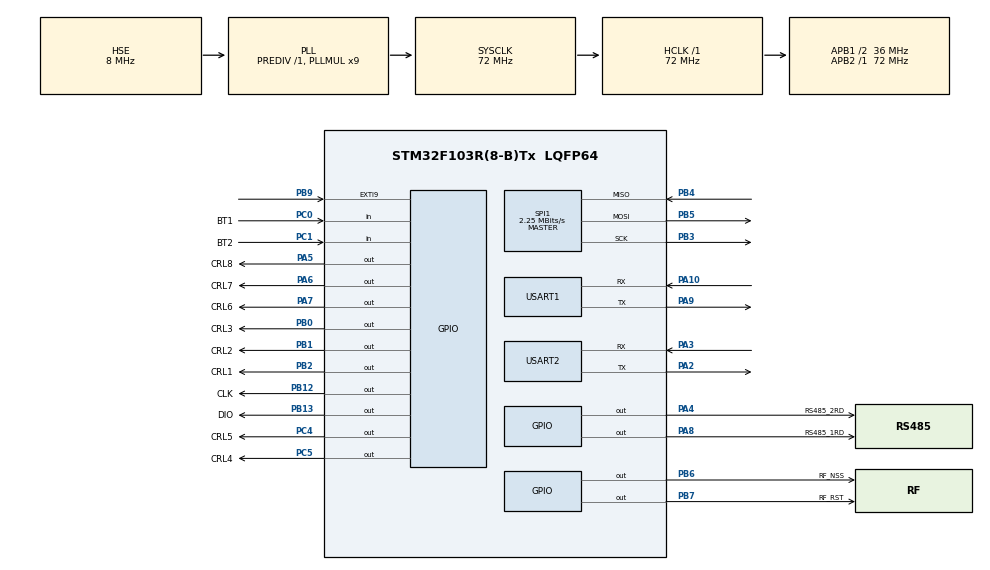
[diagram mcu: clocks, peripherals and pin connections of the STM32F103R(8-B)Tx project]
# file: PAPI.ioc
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Mcu.Family=STM32F1
Mcu.Name=STM32F103R(8-B)Tx
Mcu.Package=LQFP64
NVIC.PriorityGroup=NVIC_PRIORITYGROUP_4
NVIC.TIM1_BRK_IRQn=true\:0\:0\:false\:false\:true\:true
NVIC.TIM1_CC_IRQn=true\:0\:0\:false\:false\:true\:true
NVIC.TIM1_TRG_COM_IRQn=true\:0\:0\:false\:false\:true\:true
NVIC.TIM1_UP_IRQn=true\:0\:0\:false\:false\:true\:true
NVIC.TIM3_IRQn=true\:0\:0\:false\:false\:true\:true
NVIC.USART1_IRQn=true\:0\:0\:false\:true\:true\:2\:true
NVIC.USART2_IRQn=true\:0\:0\:false\:true\:true\:1\:true
PA10.Mode=Asynchronous
PA10.Signal=USART1_RX
PA13.Mode=Serial_Wire
PA13.Signal=SYS_JTMS-SWDIO
PA14.Mode=Serial_Wire
PA14.Signal=SYS_JTCK-SWCLK
PA2.Mode=Asynchronous
PA2.Signal=USART2_TX
PA3.Mode=Asynchronous
PA3.Signal=USART2_RX
PA4.GPIO_Label=RS485_2RD
PA4.Signal=GPIO_Output
PA5.GPIO_Label=CRL8
PA5.Signal=GPIO_Output
PA6.GPIO_Label=CRL7
PA6.Signal=GPIO_Output
PA7.GPIO_Label=CRL6
PA7.Signal=GPIO_Output
PA8.GPIO_Label=RS485_1RD
PA8.Signal=GPIO_Output
PA9.Mode=Asynchronous
PA9.Signal=USART1_TX
PB0.GPIO_Label=CRL3
PB0.Signal=GPIO_Output
PB1.GPIO_Label=CRL2
PB1.Signal=GPIO_Output
PB12.GPIO_Label=CLK
PB12.GPIO_ModeDefaultOutputPP=GPIO_MODE_OUTPUT_OD
PB12.PinState=GPIO_PIN_RESET
PB12.Signal=GPIO_Output
PB13.GPIO_Label=DIO
PB13.GPIO_ModeDefaultOutputPP=GPIO_MODE_OUTPUT_OD
PB13.Signal=GPIO_Output
PB2.GPIO_Label=CRL1
PB2.Signal=GPIO_Output
PB3.Mode=Full_Duplex_Master
PB3.Signal=SPI1_SCK
PB4.Mode=Full_Duplex_Master
PB4.Signal=SPI1_MISO
PB5.Mode=Full_Duplex_Master
PB5.Signal=SPI1_MOSI
PB6.GPIO_Label=RF_NSS
PB6.Signal=GPIO_Output
PB7.GPIO_Label=RF_RST
PB7.Signal=GPIO_Output
PB9.Signal=GPXTI9
PC0.GPIO_Label=BT1
PC0.Signal=GPIO_Input
PC1.GPIO_Label=BT2
PC1.Signal=GPIO_Input
PC4.GPIO_Label=CRL5
PC4.Signal=GPIO_Output
PC5.GPIO_Label=CRL4
PC5.Signal=GPIO_Output
PD0-OSC_IN.Mode=HSE-External-Oscillator
PD0-OSC_IN.Signal=RCC_OSC_IN
PD1-OSC_OUT.Mode=HSE-External-Oscillator
PD1-OSC_OUT.Signal=RCC_OSC_OUT
ProjectManager.HeapSize=0x200
ProjectManager.StackSize=0x400
ProjectManager.TargetToolchain=MDK-ARM V5
RCC.AHBFreq_Value=72000000
RCC.APB1CLKDivider=RCC_HCLK_DIV2
RCC.APB1Freq_Value=36000000
RCC.APB1TimFreq_Value=72000000
RCC.APB2Freq_Value=72000000
RCC.APB2TimFreq_Value=72000000
RCC.HCLKFreq_Value=72000000
RCC.PLLMUL=RCC_PLL_MUL9
RCC.PLLSourceVirtual=RCC_PLLSOURCE_HSE
RCC.SYSCLKFreq_VALUE=72000000
RCC.SYSCLKSource=RCC_SYSCLKSOURCE_PLLCLK
RCC.USBFreq_Value=72000000
SPI1.BaudRatePrescaler=SPI_BAUDRATEPRESCALER_32
SPI1.CalculateBaudRate=2.25 MBits/s
SPI1.Direction=SPI_DIRECTION_2LINES
SPI1.Mode=SPI_MODE_MASTER
SPI1.VirtualType=VM_MASTER
TIM1.AutoReloadPreload=TIM_AUTORELOAD_PRELOAD_ENABLE
TIM1.ClockDivision=TIM_CLOCKDIVISION_DIV1
TIM1.Period=63999
TIM1.Prescaler=1124
TIM1.TIM_MasterOutputTrigger=TIM_TRGO_ENABLE
TIM3.Period=1
TIM3.Prescaler=35999
USART1.VirtualMode=VM_ASYNC
USART2.VirtualMode=VM_ASYNC
VP_TIM1_VS_ClockSourceINT.Mode=Internal
VP_TIM3_VS_ClockSourceINT.Mode=Internal
board=PAPI

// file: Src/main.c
/**
  ******************************************************************************
  * File Name          : main.c
  * Description        : Main program body
  ******************************************************************************
  ** This notice applies to any and all portions of this file
  * that are not between comment pairs USER CODE BEGIN and
  * USER CODE END. Other portions of this file, whether
  * inserted by the user or by software development tools
  * are owned by their respective copyright owners.
  *
  * COPYRIGHT(c) 2018 STMicroelectronics
  *
  * Redistribution and use in source and binary forms, with or without modification,
  * are permitted provided that the following conditions are met:
  *   1. Redistributions of source code must retain the above copyright notice,
  *      this list of conditions and the following disclaimer.
  *   2. Redistributions in binary form must reproduce the above copyright notice,
  *      this list of conditions and the following disclaimer in the documentation
  *      and/or other materials provided with the distribution.
  *   3. Neither the name of STMicroelectronics nor the names of its contributors
  *      may be used to endorse or promote products derived from this software
  *      without specific prior written permission.
  *
  * THIS SOFTWARE IS PROVIDED BY THE COPYRIGHT HOLDERS AND CONTRIBUTORS "AS IS"
  * AND ANY EXPRESS OR IMPLIED WARRANTIES, INCLUDING, BUT NOT LIMITED TO, THE
  * IMPLIED WARRANTIES OF MERCHANTABILITY AND FITNESS FOR A PARTICULAR PURPOSE ARE
  * DISCLAIMED. IN NO EVENT SHALL THE COPYRIGHT HOLDER OR CONTRIBUTORS BE LIABLE
  * FOR ANY DIRECT, INDIRECT, INCIDENTAL, SPECIAL, EXEMPLARY, OR CONSEQUENTIAL
  * DAMAGES (INCLUDING, BUT NOT LIMITED TO, PROCUREMENT OF SUBSTITUTE GOODS OR
  * SERVICES; LOSS OF USE, DATA, OR PROFITS; OR BUSINESS INTERRUPTION) HOWEVER
  * CAUSED AND ON ANY THEORY OF LIABILITY, WHETHER IN CONTRACT, STRICT LIABILITY,
  * OR TORT (INCLUDING NEGLIGENCE OR OTHERWISE) ARISING IN ANY WAY OUT OF THE USE
  * OF THIS SOFTWARE, EVEN IF ADVISED OF THE POSSIBILITY OF SUCH DAMAGE.
  *
  ******************************************************************************
  */

#include "main.h"
#include "stm32f1xx_hal.h"

/* USER CODE BEGIN Includes */
#include "tm1637.h"
/* USER CODE END Includes */

SPI_HandleTypeDef hspi1;

TIM_HandleTypeDef htim1;
TIM_HandleTypeDef htim3;

UART_HandleTypeDef huart1;
UART_HandleTypeDef huart2;

/* USER CODE BEGIN PV */
/* Private variables ---------------------------------------------------------*/

/*****************************************************************************************************************/
unsigned char message[10]="ENJOYNG!!";              // outgoing message
//unsigned char outgoing_length = 20;
unsigned char msgCount = 0;            // count of outgoing messages
unsigned char localAddress = 0x71;     // address of this device
unsigned char destination = 0xFF;      // destination to send to
//long lastSendTime = 0;        // last send time
//int interval = 2000;          // interval between sends
unsigned char _packetIndex;
#pragma used+
unsigned char read_reg_single(unsigned char addr);
void write_reg_single(unsigned char addr,unsigned char data);
void read_all_mem(unsigned char *mem_buff);
#pragma used-
unsigned char rfm98w_begin(unsigned int frequency);
void rf_sleep(void);
void setFrequency(unsigned int frequency);
unsigned int _frequency;
void setTxPower(unsigned char level);
void idle();
//void sendMessage(char *outgoing);
int LoRa_beginPacket(void);
//void explicitHeaderMode();
//unsigned char _implicitHeaderMode;
//unsigned char LoRa_write( unsigned char *buffer,unsigned char size);
unsigned char LoRa_endPacket();

void sendmess(unsigned char *buff);
void LoRa_AddDataToSend(unsigned char des,unsigned char add,unsigned char count, unsigned char *buffer);
unsigned char LoRa_parsePacket(void);
void onReceive_(unsigned char packetSize);
unsigned char LoRa_available(void);
unsigned char LoRa_read(void);
/*****************************************************************************************************************/
//using 1 triger for some loops
#define LOOPSAME 200// 200 mean 200ms
uint16_t _loop_same = LOOPSAME;
uint32_t wait_for_cali_;
uint8_t _stt_lamp_ = 0;//LAMP_OK

const uint8_t _papi_id = PAPI_MASTER;
//const uint8_t _papi_id = PAPI_SLAVE1;

const uint8_t digitToSegment[10] = {
 // XGFEDCBA
  0x3f,//0b00111111,    // 0
  0x06,//0b00000110,    // 1
  0x5b,//0b01011011,    // 2
  0x4f,//0b01001111,    // 3
  0x66,//0b01100110,    // 4
  0x6d,//0b01101101,    // 5
  0x7d,//0b01111101,    // 6
  0x07,//0b00000111,    // 7
  0x7f,//0b01111111,    // 8
  0x6f,//0b01101111,    // 9
  };

struct _s_sensor_ {
	int rawx;
	int rawy;
	int offset_x;
	int offset_y;
	int diff_x;
	int diff_y;
	int abs_diff_x;
	int abs_diff_y;
	uint16_t raw_lux;
	uint16_t ds18b20_temp;
};
struct _s_sensor_ ss1;

void _send_papi_info_(void){
	RS485_TX1;
	printf(">P%02X%02X<",_papi_id,_stt_lamp_);
}

uint8_t UART2_DATA[RX2SIZE];

// Cac trang thai cua cam bien
#define SEN_OK 0//Cam bien binh thuong, OK
#define SEN_WO 1//Cam bien dang bi lech goc WRONG
#define SEN_DI 2//Cam bien chet DIE
#define SEN_FI 3//Cam bien den chet FIRE
#define SEN_HO 4//Cam bien qua nhiet HOT
//for _loop4_check_sensor_
//Lost sensor : Uart error, sensor error
//if in 20 seconds has no right sensor massage => ERROR
#define LOOOP4RUN 20//20 for 20s
uint8_t _loop4 = LOOOP4RUN;
uint8_t _stt_sensor_ = SEN_OK;

// gia lap gia tri cam bien
#define EMU_ON  1
#define EMU_OFF 0
uint8_t _emu_mode_ = EMU_OFF;
uint8_t _emu_value_ = SEN_OK;

void _loop4_check_sensor_(void)
{
	if(_loop4 == ONTIME){// sau 1 phut ko nhan duoc du lieu tu cam bien
		_loop4 = STOP;
		_stt_sensor_ = SEN_DI;
		//RS485_TX1;
		//printf("SENSOR DIED!!\r\n");
	}
	else if((_loop_same == ONTIME) &&(_loop4 != STOP)){//Khoang 200ms (loop same) vao day 1 lan
		//Check sensor dinh ky
		//_loop4 != STOP =>>> Phai nhan duoc ban tin tu cam bien thi moi xu ly
		//kiem tra xem du lieu cam bien dung hay sai <-----check co kiem tra anh sang
		//KIEM TRA ANH SANG O DAY
		//RS485_TX1;
		//if(ss1.diff_x>0x7FFF) ss1.diff_x = 0;
		//if(ss1.diff_y>0x7FFF) ss1.diff_y = 0;//ss1.diff_y-0x10000;
		//if(ss1.diff_x>0x7FFF)
		//ss1.diff_x = (signed int)0xffff;
		//printf("X,Y,t,l :%d,%d,%d\r\n",ss1.diff_x,ss1.rawy,ss1.ds18b20_temp);

		//ss1.diff_x = ss1.rawx - ss1.offset_x;
		//ss1.diff_y = ss1.rawy - ss1.offset_y;

		ss1.diff_x = ss1.rawx;
		ss1.diff_y = ss1.rawy;

		if(ss1.diff_x > 0) ss1.abs_diff_x = ss1.diff_x;
		else ss1.abs_diff_x = -ss1.diff_x;

		if(ss1.diff_y > 0) ss1.abs_diff_y = ss1.diff_y;
		else ss1.abs_diff_y = -ss1.diff_y;
		//Doi sang do
		ss1.abs_diff_x = 7*ss1.abs_diff_x;
		ss1.abs_diff_y = 7*ss1.abs_diff_y;
		/*if((ss1.offset_x - ss1.rawx) > 7 )      _stt_sensor_ = SEN_WO;// goc x nho hon -0.25 do
		else if((ss1.rawx - ss1.offset_x) > 14) _stt_sensor_ = SEN_WO;  //goc x lon hon 0.5 do
		else if((ss1.offset_y - ss1.rawy) > 7)  _stt_sensor_ = SEN_WO; //goc y nho hon -0.25 do
		else if((ss1.rawy - ss1.offset_y) > 14) _stt_sensor_ = SEN_WO; //goc y lon hon 0.5 do
		else _stt_sensor_ = SEN_OK;*/
		//if(((ss1.offset_x - ss1.rawx) > 7 ) || ((ss1.rawx - ss1.offset_x) > 14) ||((ss1.offset_y - ss1.rawy) > 7)||((ss1.rawy - ss1.offset_y) > 14))
		if((ss1.abs_diff_x >249))//||(ss1.abs_diff_y >250))//0.25 do
		{
			_stt_sensor_ = SEN_WO;
			//RS485_TX1;
			//printf("SENSOR WRONG\r\n");
		}
		else if(ss1.raw_lux >710) _stt_sensor_ = SEN_FI;//<<<<<<<<<<<<<<<<<<<<<<<<<<<<<<<<<<<<<<<<<<<<<<<<<<<<<<<<<<<<<<<<<<<<<<<<<<<<<<<<<<<<<<<<<<<<<Thъm quс nhi?t ? dтy
		else if(ss1.ds18b20_temp >850) {
			_stt_sensor_ = SEN_HO;// Qua 85 do thi bao loi qua nhiet
			//RS485_TX1;
			//printf("SENSOR HOT\r\n");
			}
		else //<<check lai dieu kien nay nhe
		{
			_stt_sensor_ = SEN_OK;
			//RS485_TX1;
			//printf("SENSOR OK\r\n");
		}

	}
	if(_emu_mode_ == EMU_ON) {
		_stt_sensor_ = _emu_value_;
	}
}

// Boc tach du lieu tu cam bien gui ve
void _get_sensor_data(void)
{
	uint8_t temp1,temp2,temp3,temp4;
	uint8_t buff_temp1,buff_temp2;//ds18b20
  signed int x,y;
	uint16_t t,l;

	//RS485_TX1;
	//printf("SENSOR :%s\r\n",UART2_DATA);

	RS485_TX2;
	if(wait_for_cali_ == 1)
		{
			wait_for_cali_ = 0;
			HAL_UART_Transmit(&huart2, (uint8_t *)"CALI", 4, 10);
		}
	RS485_RX2;
	if((UART2_DATA[0] == 'S') &&(UART2_DATA[19] == '<'))
	{
		_loop4 = LOOOP4RUN;//Nhan duoc dung du lieu tu cam bien => Cam bien OK
		//RS485_TX1;
		//printf("SENSOR :%s\r\n",UART2_DATA);
		temp1 = HEXInStringToDec(UART2_DATA[2]);
		temp2 = HEXInStringToDec(UART2_DATA[3]);
		temp3 = HEXInStringToDec(UART2_DATA[4]);
		temp4 = HEXInStringToDec(UART2_DATA[5]);
		x= (temp1<<12) + (temp2<<8) + (temp3<<4) +temp4;

		temp1 = HEXInStringToDec(UART2_DATA[7]);
		temp2 = HEXInStringToDec(UART2_DATA[8]);
		temp3 = HEXInStringToDec(UART2_DATA[9]);
		temp4 = HEXInStringToDec(UART2_DATA[10]);
		y= (temp1<<12) + (temp2<<8) + (temp3<<4) +temp4;

		temp2 = HEXInStringToDec(UART2_DATA[12]);
		temp3 = HEXInStringToDec(UART2_DATA[13]);
		temp4 = HEXInStringToDec(UART2_DATA[14]);
		t= (temp2<<8) + (temp3<<4) +temp4;

		temp2 = HEXInStringToDec(UART2_DATA[16]);
		temp3 = HEXInStringToDec(UART2_DATA[17]);
		temp4 = HEXInStringToDec(UART2_DATA[18]);
		l= (temp2<<8) + (temp3<<4) +temp4;

		//RS485_TX1;
		//printf("X,Y,t,l :%04X,%04X,%d,%d\r\n",x,y,t,l);

		ss1.rawx = x;
		ss1.rawy = y;
		ss1.ds18b20_temp = t;
		ss1.raw_lux = l;
		if(ss1.rawx>0x7FFF) ss1.rawx = ss1.rawx - 0xffff - 1;
		if(ss1.rawy>0x7FFF) ss1.rawy = ss1.rawy - 0xffff - 1;
		//RS485_TX1;
		//printf("X,Y,t,l :%04X,%04X,%d,%d\r\n",ss1.rawx,ss1.rawy,ss1.ds18b20_temp,l);
		//printf("X,Y,t,l :%d,%d,%d,%d\r\n",ss1.rawx,ss1.rawy,ss1.ds18b20_temp,l);
		/*
		temp1 = HEXInStringToDec(UART2_DATA[2]);
		temp2 = HEXInStringToDec(UART2_DATA[3]);
		temp3 = HEXInStringToDec(UART2_DATA[4]);
		ss1.rawx = (temp1<<8) + (temp2<<4) + temp3;

		temp1 = HEXInStringToDec(UART2_DATA[6]);
		temp2 = HEXInStringToDec(UART2_DATA[7]);
		temp3 = HEXInStringToDec(UART2_DATA[8]);
		ss1.rawy = (temp1<<8) + (temp2<<4) + temp3;

		temp1 = HEXInStringToDec(UART2_DATA[10]);
		temp2 = HEXInStringToDec(UART2_DATA[11]);
		buff_temp1 = (temp1<<4) + temp2;

		temp1 = HEXInStringToDec(UART2_DATA[13]);
		temp2 = HEXInStringToDec(UART2_DATA[14]);
		buff_temp2 = (temp1<<4) + temp2;

		temp1 = HEXInStringToDec(UART2_DATA[16]);
		temp2 = HEXInStringToDec(UART2_DATA[17]);
		ss1.raw_lux = (temp1<<4) + temp2;
		*/
		//ss1.ds18b20_temp = ((float)(buff_temp1&0x0f))/16;            // Lay phan thuc cua gia tri nhiet //<<<<<<<<<<<<<<<<<<<<<<<<<<<<<<<<<<<<<<<<<<<<<<<<<<<<<<<<<<<<<
		//buff_temp1 =((buff_temp1&0xf0)>>4)|((buff_temp2&0x0f)<<4) ;    // Lay phan nguyen cua gia tri nhiet do
		//ss1.ds18b20_temp = ss1.ds18b20_temp+buff_temp1;
	}

}

unsigned int bt_scan;
unsigned int check;
//for _loop1_tx1off_
unsigned char _loop1;
unsigned char _loop1_run = 25;// 25 mean 25ms
//processing loop1, turn uart 1 to rx mode.
void _loop1_tx1off_(void){
	if(_loop1 == ONTIME) {
		_loop1 = STOP;
		RS485_RX1;
	}
}

void _clear_mem(uint8_t *pData, uint8_t _size_)
{
	uint8_t i;
	for(i=0;i<_size_;i++)
	{
		pData[i] = 0;
	}
}

//for _loop2_rx1_process_
unsigned int _loop2;
uint8_t UART1_DATA[RX1SIZE];
//tu kiem tra ket noi cua ban than
uint8_t _my_conn = 0;
#define CONN_LIMIT 10// 10 means 10 times without any incoming message

// trang thai cua cac den papi trong he thong papi
uint8_t papi_info[4];
//khoang thoi gian timeout cua ban thong tin
#define F5TIMEOUT 20// 20 means 10 seconds
// do moi cua cac ban tin
uint8_t f5_papi_info[4];
//incoming message from master
uint8_t flag_incom_master = 0;
// Lay thong tin tu cac den PAPI khac
void _get_uart_info (void){
	if((UART1_DATA[0] == '>') && (UART1_DATA[1] == 'P') && (UART1_DATA[6] == '<'))
		{
			_my_conn = 0;//minh ket noi binh thuong;
			if( (UART1_DATA[3] -48) == PAPI_MASTER)  {papi_info[PAPI_MASTER] = (UART1_DATA[5] -48);f5_papi_info[PAPI_MASTER] = 0;flag_incom_master = 1;}
			if( (UART1_DATA[3] -48) == PAPI_SLAVE1)  {papi_info[PAPI_SLAVE1] = (UART1_DATA[5] -48);f5_papi_info[PAPI_SLAVE1] = 0;}
			if( (UART1_DATA[3] -48) == PAPI_SLAVE2)  {papi_info[PAPI_SLAVE2] = (UART1_DATA[5] -48);f5_papi_info[PAPI_SLAVE2] = 0;}
			if( (UART1_DATA[3] -48) == PAPI_SLAVE3)  {papi_info[PAPI_SLAVE3] = (UART1_DATA[5] -48);f5_papi_info[PAPI_SLAVE3] = 0;}
		}
}

void _loop2_rx1_process_(void)
{
	if(_loop2 == ONTIME){
		_loop2 = STOP;
		_get_uart_info();
		//Xu ly no
		//RS485_TX1;
		//printf("UART1:%s,RxSize :%d,RxCount:%d\r\n",UART1_DATA,huart1.RxXferSize,huart1.RxXferCount);
		huart1.RxXferCount = RX1SIZE;
		HAL_UART_Receive_IT(&huart1,UART1_DATA,RX1SIZE);
		huart1.pRxBuffPtr = UART1_DATA;
		_clear_mem(UART1_DATA,RX1SIZE-1);
	}
}

//for _loop3_rx2_process_
//Xu ly du lieu cam bien
unsigned int _loop3;
void _loop3_rx2_process_(void)
{
	if(_loop3 == ONTIME){
		_loop3 = STOP;
		//Xu ly no

		_get_sensor_data();
		//RS485_TX1;
		//printf("UART2:%s\r\n",UART2_DATA);//<< check raw data uart
		//printf("UART2:%s,RxSize :%d,RxCount:%d\r\n",UART2_DATA,huart2.RxXferSize,huart2.RxXferCount);
		//printf("Sensor:X:%d,Y:%d,L:%d\r\n",ss1.rawx,ss1.rawy,ss1.raw_lux);
		huart2.RxXferCount = RX2SIZE;
		HAL_UART_Receive_IT(&huart2,UART2_DATA,RX2SIZE);
		huart2.pRxBuffPtr = UART2_DATA;
		_clear_mem(UART2_DATA,RX1SIZE-1);
	}
}

/* USER CODE END PV */

void SystemClock_Config(void);
static void MX_GPIO_Init(void);
static void MX_USART2_UART_Init(void);
static void MX_USART1_UART_Init(void);
static void MX_SPI1_Init(void);
static void MX_TIM1_Init(void);
static void MX_TIM3_Init(void);
static void MX_NVIC_Init(void);

/* USER CODE BEGIN PFP */
/* Private function prototypes -----------------------------------------------*/

/* USER CODE END PFP */

/* USER CODE BEGIN 0 */
//for _loop5_button_
#define LOOOP5RUN 200// 200 mean 200ms
unsigned char _loop5 = LOOOP5RUN;
//processing loop5, check button
void _loop5_button_(void){
	if(_loop_same == ONTIME) {
		//_loop_same = LOOPSAME;// renew at the end loop
		//check button
		if(!HAL_GPIO_ReadPin(BT1_GPIO_Port,BT1_Pin)) {/*RS485_TX1;printf("BT1\r\n");*/
																										wait_for_cali_ = 1;
																										//TM1637_Disp_Dot(0x39,0x77,0x38,0x30);//CALI
																										//while(wait_for_cali_--);
																										//ss1.offset_x = ss1.rawx;
																										//ss1.offset_y = ss1.rawy;
																										//TM1637_Disp_Dot(0,0x40,0x40,0);
		//wait_for_cali_ = 1000;
		//while(wait_for_cali_--);
		}
		if(!HAL_GPIO_ReadPin(BT2_GPIO_Port,BT2_Pin)) {/*RS485_TX1;printf("BT2\r\n");*/_emu_value_++;if(_emu_value_ == 5) _emu_value_ = SEN_OK;}
	}
}
//for _loop6_lampcheck_
#define LAMP_OK           0
#define LAMP_ERR1_SENSOR  1
#define LAMP_ERR2_FIRED   2
#define LAMP_ERR3_INCLIN  3
#define LAMP_ERR9_HOT     4

#define LOOOP6RUN 200// 200 mean 200ms
unsigned char _loop6 = LOOOP6RUN;
//uint8_t _stt_lamp_ = LAMP_OK;
//processing loop6, check sensor for lamp's error
void _loop6_lampcheck_(void){
	if(_loop_same == ONTIME) {
		if			(_stt_sensor_ == SEN_OK) _stt_lamp_ = LAMP_OK;//Den binh thuong
		else if	(_stt_sensor_ == SEN_WO) _stt_lamp_ = LAMP_ERR3_INCLIN;//Den bi nghieng
		else if	(_stt_sensor_ == SEN_DI) _stt_lamp_ = LAMP_ERR1_SENSOR;//Ko co phan hoi tu cam bien
		else if	(_stt_sensor_ == SEN_FI) _stt_lamp_ = LAMP_ERR2_FIRED;//Bong den bi chay
		else if	(_stt_sensor_ == SEN_HO) _stt_lamp_ = LAMP_ERR9_HOT;//Cam bien bi nong qua 85oC
		//RS485_TX1;
		//if			(_stt_lamp_ == LAMP_OK) 					printf("PAPI's status :LAMP_OK\r\n");//Den binh thuong
		//else if	(_stt_lamp_ == LAMP_ERR3_INCLIN) 	printf("PAPI's status :LAMP_ERR3_INCLIN\r\n");//Den bi nghieng
		//else if	(_stt_lamp_ == LAMP_ERR1_SENSOR) 	printf("PAPI's status :LAMP_ERR1_SENSOR\r\n");//Ko co phan hoi tu cam bien
		//else if	(_stt_lamp_ == LAMP_ERR2_FIRED) 	printf("PAPI's status :LAMP_ERR2_FIRED\r\n");//Bong den bi chay
		f5_papi_info[_papi_id] = 0;
		papi_info[_papi_id] = _stt_lamp_;
		//check lamp
	}
}
//Kiem tra ket noi den slave hoac master co on dinh hay ko?
//Cac trang thai
#define COM_GOOOD 0
#define COM_BAD   1
uint8_t _stt_comm_ = COM_GOOOD;
void _loop7_communication_(void){
	if(_loop_same == ONTIME) {
		if(_my_conn == 0) _stt_comm_ = COM_GOOOD;
		else if(_my_conn == CONN_LIMIT) _stt_comm_ = COM_BAD;

		if(f5_papi_info[PAPI_MASTER] >= F5TIMEOUT) papi_info[PAPI_MASTER] = 'x';//x means dont know
		if(f5_papi_info[PAPI_SLAVE1] >= F5TIMEOUT) papi_info[PAPI_SLAVE1] = 'x';//x means dont know
		if(f5_papi_info[PAPI_SLAVE2] >= F5TIMEOUT) papi_info[PAPI_SLAVE2] = 'x';//x means dont know
		if(f5_papi_info[PAPI_SLAVE3] >= F5TIMEOUT) papi_info[PAPI_SLAVE3] = 'x';//x means dont know

		//RS485_TX1;
		//if(_stt_comm_ == COM_GOOOD) printf("COM_GOOOD\r\n");
		//else if(_stt_comm_ == COM_BAD) printf("COM_BAD\r\n");

	}
}
//Kiem tra cac den khac co loi ko
//Cac trang thai
#define NEIGH_GOOD 0
#define NEIGH_BAD  1
uint8_t _stt_neigh_ = NEIGH_GOOD;
void _loop8_neigh_(void){
	if(_loop_same == ONTIME) {
		//_stt_neigh_ = NEIGH_GOOD;
		if((papi_info[0]+papi_info[1]+papi_info[2]+papi_info[3]) == 0) _stt_neigh_ = NEIGH_GOOD;//including me
		else _stt_neigh_ = NEIGH_BAD;
		//RS485_TX1;
		//if(_stt_neigh_ == NEIGH_GOOD) printf("NEIGH_GOOD\r\n");
		//else if(_stt_neigh_ == NEIGH_BAD) printf("NEIGH_BAD\r\n");

	}
}
//INPUT: LOCAL ERROR & COMM ERROR & NEIGH ERROR
//OUTPUT:GOOOD
#define SYSTEM_GOOOD 0
//LOCAL ERROR :
#define ERR1_SEN     1 // Cam bien cua PAPI gap su co
#define ERR2_LAM     2 // lamp cua PAPI gap su co
#define ERR3_INC     3 // PAPI's sensor is inclined
#define ERR9_HOT     9 // PAPI's sensor is hot
//COMM ERROR
#define ERR4_COM     4 // Communication got trouble
//NEIGH ERROR
#define ERR5_NEI     5 // One of neighbors got trouble
uint8_t system_status = SYSTEM_GOOOD;
void _loop9_systemcheck_(void){

	if(_loop_same == ONTIME) {
		_loop_same = LOOPSAME;//ket thuc cac vong lap tuong tu nhau

		if			(_stt_lamp_ == LAMP_ERR1_SENSOR) system_status = ERR1_SEN;
		else if	(_stt_lamp_ == LAMP_ERR2_FIRED ) system_status = ERR2_LAM;
		else if	(_stt_lamp_ == LAMP_ERR3_INCLIN) system_status = ERR3_INC;
		else if	(_stt_lamp_ == LAMP_ERR9_HOT)    system_status = ERR9_HOT;
		else if	(_stt_comm_ == COM_BAD         ) system_status = ERR4_COM;
		else if	(_stt_neigh_ == NEIGH_BAD      ) system_status = ERR5_NEI;
		else 																		 system_status = SYSTEM_GOOOD;
		/*
		RS485_TX1;
		if(system_status == ERR1_SEN) 		 			printf("ERR1_SEN\r\n");
		else if(system_status == ERR2_LAM) 			printf("ERR2_LAM\r\n");
		else if(system_status == ERR3_INC) 			printf("ERR3_INC\r\n");
		else if(system_status == ERR4_COM) 			printf("ERR4_COM\r\n");
		else if(system_status == ERR5_NEI) 			printf("ERR5_NEI\r\n");
		else if(system_status == SYSTEM_GOOOD) 	printf("SYSTEM_GOOOD\r\n");
		*/
		//printf("papi_info    :%d-%d-%d-%d\r\n",papi_info[0],papi_info[1],papi_info[2],papi_info[3]);
		//printf("f5_papi_info :%d-%d-%d-%d\r\n",f5_papi_info[0],f5_papi_info[1],f5_papi_info[2],f5_papi_info[3]);
	}
}

//for _loop_master_send_
#define LOOPMASTER 3000// 1000 mean 1000ms
uint16_t _loopm = LOOPMASTER;
//processing loop master, send papi's status to slaves
void _loop_master_send_(void){
	if(_papi_id == PAPI_MASTER){
	if(_loopm == ONTIME) {
		_loopm = LOOPMASTER;
		_send_papi_info_();
	}
	}
}

// phan hoi ban tin tu master
uint16_t _slave_respond ;
uint16_t _slave_time_to_rep;
void _slave_rep_(void)
{
	if(flag_incom_master == 1)// master hoi, tra loi thoi
	{
		flag_incom_master = 0;
		if( _papi_id == PAPI_SLAVE1) _slave_time_to_rep = 300;//300ms
		else if( _papi_id == PAPI_SLAVE2) _slave_time_to_rep = 600;//600ms
		else if( _papi_id == PAPI_SLAVE3) _slave_time_to_rep = 900;//900ms
	}
}
// slave gui ban tin
void _slave_send_(void)
{
	if(_slave_time_to_rep == ONTIME)
	{
		_slave_time_to_rep = STOP;
		_send_papi_info_();
	}
}
#define LOOP10RUN 3
uint8_t _loop10_ = LOOP10RUN;
uint8_t _display_label_ = 0;
uint8_t _display_conten[4] ;

unsigned char seg_temp1,seg_temp2,seg_temp3,seg_temp4;

void _error_display_(void);
void _loop10_led7out_(void){
	if(_loop10_ == ONTIME){
		_loop10_ = LOOP10RUN;
		//RS485_TX1;

		switch(_display_label_)
		{

		case 0: {// Neu co loi, hien thi ma loi o day. Neu ko co loi, bo qua
					_error_display_();
					//printf("Label 0\r\n");
					break;
				}
				case 1: {
									//printf("abs_diff_x:%d\r\n",ss1.abs_diff_x);
								if(ss1.diff_x<0) seg_temp1 = 0xC0;
								else seg_temp1 = 0x80;
								//TM1637_Disp_Dot(seg_temp1,seg_temp2,seg_temp3,seg_temp4);
								seg_temp2 = ss1.abs_diff_x/100;
								seg_temp4 = ss1.abs_diff_x%10;
								seg_temp3 = ss1.abs_diff_x%100;
								seg_temp3 = seg_temp3/10;

								TM1637_Disp_Dot(seg_temp1,digitToSegment[seg_temp2],digitToSegment[seg_temp3],digitToSegment[seg_temp4]);

									break;
								}
				case 2: {/*//Turn off Y display
								if(ss1.diff_y<0) seg_temp1 = 0xC0;
								else seg_temp1 = 0x80;
								//TM1637_Disp_Dot(seg_temp1,seg_temp2,seg_temp3,seg_temp4);
								seg_temp2 = ss1.abs_diff_y/100;
								seg_temp4 = ss1.abs_diff_y%10;
								seg_temp3 = ss1.abs_diff_y%100;
								seg_temp3 = seg_temp3/10;

								TM1637_Disp_Dot(seg_temp1,digitToSegment[seg_temp2],digitToSegment[seg_temp3],digitToSegment[seg_temp4]);
								//printf("abs_diff_y:%d\r\n",ss1.abs_diff_y);
					*/
								break;
				}
		case 3: {printf("Label 3\r\n");break;}
		case 4: {printf("Label 4\r\n");break;}
		case 5: {printf("Label 5\r\n");break;}
		case 6: {printf("Label 6\r\n");break;}
		case 7: {printf("Label 7\r\n");break;}
		case 8: {printf("Label 8\r\n");break;}
		case 9: {printf("Label 9\r\n");break;}
		case 10: {printf("Label 10\r\n");break;}
		}
		_display_label_++;
		if(_display_label_>2) _display_label_ = 0;
	}

}

#define SYS_NOMAL 0
#define SYS_ERROR 10
uint8_t _loop10_flag_err = SYS_NOMAL;
void _error_display_(void){

		if(system_status != SYSTEM_GOOOD)// Neu ko co loi cuc bo => hien thi loi he thong
			{
				//RS485_TX1;
			if(system_status == ERR1_SEN) 		 			{TM1637_Disp_Dot(0x79,0x50,0x50,0x06);ERR1;}//RS485_TX1;printf("ERR1\r\n");}//printf("ERR1_SEN\r\n");
			else if(system_status == ERR2_LAM) 			{TM1637_Disp_Dot(0x79,0x50,0x50,0x5b);ERR2;}//RS485_TX1;printf("ERR2\r\n");}//printf("ERR2_LAM\r\n");
			else if(system_status == ERR3_INC) 			{TM1637_Disp_Dot(0x79,0x50,0x50,0x4f);ERR3;}//RS485_TX1;printf("ERR3\r\n");}//printf("ERR3_INC\r\n");
			else if(system_status == ERR4_COM) 			{TM1637_Disp_Dot(0x79,0x50,0x50,0x66);ERR4;}//RS485_TX1;printf("ERR4\r\n");}//printf("ERR4_COM\r\n");
			else if(system_status == ERR5_NEI) 			{TM1637_Disp_Dot(0x79,0x50,0x50,0x6d);ERR5;}//RS485_TX1;printf("ERR5\r\n");}//printf("ERR5_NEI\r\n");
			else if(system_status == ERR9_HOT) 			{TM1637_Disp_Dot(0x79,0x50,0x50,0x6f);ERR9;}//RS485_TX1;printf("ERR9\r\n");}//printf("ERR9_HOT\r\n");

				if(_loop10_flag_err < SYS_ERROR) _loop10_flag_err++;
				else if(_loop10_flag_err == SYS_ERROR)
				{
					//RS485_TX1;printf("LAMP_OFF\r\n");
					//printf("LAMP_OFF\r\n");
					LAMP_OFF;
					//gui ban tin bao loi qua rf
					sendmess(message);
				}
			}
			else if(_stt_lamp_ != LAMP_OK) //Neu loi cuc bo, hien thi loi cuc bo
			{
				//RS485_TX1;
				if	(_stt_lamp_ == LAMP_ERR3_INCLIN) 	TM1637_Disp_Dot(0x79,0x50,0x50,0x7d);//printf("PAPI's status :LAMP_ERR3_INCLIN\r\n");//Den bi nghieng
				else if	(_stt_lamp_ == LAMP_ERR1_SENSOR) 	TM1637_Disp_Dot(0x79,0x50,0x50,0x07);//printf("PAPI's status :LAMP_ERR1_SENSOR\r\n");//Ko co phan hoi tu cam bien
				else if	(_stt_lamp_ == LAMP_ERR2_FIRED) 	TM1637_Disp_Dot(0x79,0x50,0x50,0x7f);//printf("PAPI's status :LAMP_ERR2_FIRED\r\n");//Bong den bi chay
				if(_loop10_flag_err < SYS_ERROR) _loop10_flag_err++;
				else if(_loop10_flag_err == SYS_ERROR)
					{
					//RS485_TX1;
					//printf("LAMP_OFF\r\n");
					LAMP_OFF;
						//gui ban tin bao loi qua rf
						sendmess(message);
					}

			}
		else {
				//He thong hoat dong binh thuong
				_loop10_ = ONTIME;
				LAMP_ON;
				_loop10_flag_err = SYS_NOMAL;
				DRY_NO_ERR;
				//RS485_TX1;
					//printf("LAMP_ON\r\n");
			}
}
/************************************************************************************************************/

char LoRa_packetRssi(void)
{
  //return (readRegister(REG_PKT_RSSI_VALUE) - (_frequency < 868E6 ? 164 : 157));
  //return (read_reg_single(REG_PKT_RSSI_VALUE) - 164 );
  return read_reg_single(REG_PKT_RSSI_VALUE);
}

unsigned char LoRa_packetSnr(void)
{
  //return ((int8_t)read_reg_single(REG_PKT_SNR_VALUE)) * 0.25;
  return read_reg_single(REG_PKT_SNR_VALUE) ;
}
uint8_t singleTransfer(uint8_t address, uint8_t value)
{
  uint8_t response;

  //digitalWrite(_ss, LOW);

  RF_NSS(0);// = 0;
  HAL_Delay(1);
  //SPI.beginTransaction(_spiSettings);
  //SPI.transfer(address);
  //response = SPI.transfer(value);
  //spi(address);
	HAL_SPI_Transmit(&hspi1,&address,1,100);
  HAL_SPI_TransmitReceive(&hspi1,&value,&response,1,100);
  //SPI.endTransaction();

  //digitalWrite(_ss, HIGH);
  HAL_Delay(1);
  RF_NSS(1);
  return response;
}
uint8_t LoRa_readRegister(uint8_t address)
{
  return singleTransfer(address & 0x7f, 0x00);
}

void LoRa_writeRegister(uint8_t address, uint8_t value)
{
  singleTransfer(address | 0x80, value);
}
unsigned char read_reg_single(unsigned char addr)
{
//unsigned char data=0;
//addr = addr &0x7F;//read only
//RF_NSS(0);
//HAL_SPI_Transmit(&hspi1,&addr,1,100);
//HAL_SPI_TransmitReceive(&hspi1,0,&data,1,100);
//RF_NSS(1);
//return data;

	return singleTransfer(addr & 0x7f, 0x00);
}

void write_reg_single(unsigned char addr,unsigned char data)
{
addr = addr | 0x80;//write only
RF_NSS(0);
HAL_SPI_Transmit(&hspi1,&addr,1,100);
HAL_SPI_Transmit(&hspi1,&data,1,100);
RF_NSS(1);
}

void onReceive_(unsigned char packetSize) {

  // read packet header bytes:
  unsigned char recipient;          // recipient address
  unsigned char sender;            // sender address
  unsigned char incomingMsgId;     // incoming msg ID
  unsigned char incomingLength;    // incoming msg length
  char incoming[20];
  unsigned char length_of_incoming=0;

  if (packetSize == 0) return;          // if there's no packet, return
  recipient = LoRa_read();
  sender = LoRa_read();
  incomingMsgId = LoRa_read();
  incomingLength = LoRa_read();

  while (LoRa_available()) {
    incoming[length_of_incoming++] = LoRa_read();
  }

  if (incomingLength != length_of_incoming) {   // check length for error
    RS485_TX1;
    printf("error: message length does not match length\r\n");
    return;                             // skip rest of function
  }

  // if the recipient isn't this device or broadcast,
  if (recipient != localAddress && recipient != 0xFF) {
    RS485_TX1;
    printf("This message is not for me.\r\n");
    return;                             // skip rest of function
  }

  // if message is for this device, or broadcast, print details:
  RS485_TX1;
  printf("Received from: 0x%x\r\n",sender);
  printf("Sent to: 0x%x\r\n",recipient);
  printf("Message ID: %d\r\n",incomingMsgId);
  printf("Message length: %d\r\n",incomingLength);
  printf("Message: %s\r\n",incoming);
  printf("RSSI: %d dBm\r\n",LoRa_packetRssi()-164);
  printf("Snr: %d/4\r\n",LoRa_packetSnr());

}
unsigned char LoRa_available(void)
{
  return (read_reg_single(REG_RX_NB_BYTES) - _packetIndex);
}

unsigned char LoRa_read(void)
{
  if (!LoRa_available()) {
    return -1;
  }

  _packetIndex++;
  return read_reg_single(REG_FIFO);
}

unsigned char LoRa_parsePacket(void)
{
  unsigned char packetLength = 0;
  unsigned char irqFlags = read_reg_single(REG_IRQ_FLAGS);

  //explicitHeaderMode();
  write_reg_single(REG_MODEM_CONFIG_1, read_reg_single(REG_MODEM_CONFIG_1) & 0xfe);

  // clear IRQ's
  write_reg_single(REG_IRQ_FLAGS, irqFlags);

  if ((irqFlags & IRQ_RX_DONE_MASK) && (irqFlags & IRQ_PAYLOAD_CRC_ERROR_MASK) == 0) {
    // received a packet
    _packetIndex = 0;

	packetLength = read_reg_single(REG_RX_NB_BYTES);

    // set FIFO address to current RX address
    write_reg_single(REG_FIFO_ADDR_PTR, read_reg_single(REG_FIFO_RX_CURRENT_ADDR));

    // put in standby mode
    idle();
  }
  else if (read_reg_single(REG_OP_MODE) != (MODE_LONG_RANGE_MODE | MODE_RX_SINGLE)) {
    // not currently in RX mode
    // reset FIFO address
    write_reg_single(REG_FIFO_ADDR_PTR, 0);

    // put in single RX mode
    write_reg_single(REG_OP_MODE, MODE_LONG_RANGE_MODE | MODE_RX_SINGLE);
  }

  return packetLength;
}

void sendmess(unsigned char *buff)
{
  LoRa_beginPacket();                   // start packet
  LoRa_AddDataToSend(destination,localAddress,msgCount, buff);
  LoRa_endPacket();                     // finish packet and send it
  msgCount++;                           // increment message ID
  }

void LoRa_AddDataToSend(unsigned char des,unsigned char add,unsigned char count, unsigned char *buffer)
{
	unsigned char currentLength = read_reg_single(REG_PAYLOAD_LENGTH);
	unsigned char i;
	// check size fix size is 10
	write_reg_single(REG_FIFO, des);// add destination address
	write_reg_single(REG_FIFO, add);// add sender address
	write_reg_single(REG_FIFO, count);// add message ID
	write_reg_single(REG_FIFO, 10);// add payload length => fix 10

	for (i = 0; i < 10; i++) {
    write_reg_single(REG_FIFO, buffer[i]);
	}
	// update length : size of mess + 4 mess above
	write_reg_single(REG_PAYLOAD_LENGTH, currentLength + 14);

}

/*
void explicitHeaderMode()
{
  _implicitHeaderMode = 0;

  write_reg_single(REG_MODEM_CONFIG_1, read_reg_single(REG_MODEM_CONFIG_1) & 0xfe);
}
*/

int LoRa_beginPacket(void)
{
  // put in standby mode
  idle();
  //explicitHeaderMode();
  write_reg_single(REG_MODEM_CONFIG_1, read_reg_single(REG_MODEM_CONFIG_1) & 0xfe);
  // reset FIFO address and paload length
  write_reg_single(REG_FIFO_ADDR_PTR, 0);
  write_reg_single(REG_PAYLOAD_LENGTH, 0);

  return 1;
}

unsigned char LoRa_endPacket()
{
 // put in TX mode
  write_reg_single(REG_OP_MODE, MODE_LONG_RANGE_MODE | MODE_TX);

  // wait for TX done
  while((read_reg_single(REG_IRQ_FLAGS) & IRQ_TX_DONE_MASK) == 0);

  // clear IRQ's
  write_reg_single(REG_IRQ_FLAGS, IRQ_TX_DONE_MASK);

  return 1;
}

void rf_sleep(void)
{
    write_reg_single(REG_OP_MODE, MODE_LONG_RANGE_MODE | MODE_SLEEP);
}

void setFrequency(unsigned int frequency)
{
   unsigned int frf;

   _frequency = frequency;

  frf = (frequency << 6);

  write_reg_single(REG_FRF_MSB, (unsigned char)(frf >> 8));
  write_reg_single(REG_FRF_MID, (unsigned char)(frf >> 0));
  write_reg_single(REG_FRF_LSB, 0);
}
void setTxPower(unsigned char level)
{

    // PA BOOST
    if (level < 2) {
      level = 2;
    } else if (level > 17) {
      level = 17;
    }

    write_reg_single(REG_PA_CONFIG, PA_BOOST | (level - 2));

}
void idle()
{
  write_reg_single(REG_OP_MODE, MODE_LONG_RANGE_MODE | MODE_STDBY);
}
unsigned char rfm98w_begin(unsigned int frequency) //unsigned long int 0 to 4294967295
{
	RF_NSS(1);
	RF_RST(0);
	HAL_Delay(100);
	RF_NSS(0);
	RF_RST(1);
	HAL_Delay(100);
//check version

	//RS485_TX1;
	//printf("Reg 0x%x:%x\r\n",REG_VERSION,read_reg_single(REG_VERSION));

if(read_reg_single(REG_VERSION) != 0x12) return 0;
// put in sleep mode
  rf_sleep();
// set frequency
  setFrequency(frequency);
  // set base addresses
  write_reg_single(REG_FIFO_TX_BASE_ADDR, 0);
  write_reg_single(REG_FIFO_RX_BASE_ADDR, 0);

  // set LNA boost
  write_reg_single(REG_LNA, read_reg_single(REG_LNA) | 0x03);

  // set auto AGC
  write_reg_single(REG_MODEM_CONFIG_3, 0x04);

  // set output power to 17 dBm
  setTxPower(7);

  // put in standby mode
  idle();

  return 1;
}
/****************************************************************************************************************************/
/* USER CODE END 0 */

int main(void)
{

  /* USER CODE BEGIN 1 */
	//uint8_t UART1_DATA[RX1SIZE];
  /* USER CODE END 1 */

  /* MCU Configuration----------------------------------------------------------*/

  /* Reset of all peripherals, Initializes the Flash interface and the Systick. */
  HAL_Init();

  /* Configure the system clock */
  SystemClock_Config();

  /* Initialize all configured peripherals */
  MX_GPIO_Init();
  MX_USART2_UART_Init();
  MX_USART1_UART_Init();
  MX_SPI1_Init();
  MX_TIM1_Init();
  MX_TIM3_Init();

  /* Initialize interrupts */
  MX_NVIC_Init();

  /* USER CODE BEGIN 2 */
	// Chay ngat timer
	if (HAL_TIM_Base_Start_IT(&htim1) != HAL_OK) {
        Error_Handler();
    }
	if (HAL_TIM_Base_Start_IT(&htim3) != HAL_OK) {
        Error_Handler();
    }
	HAL_UART_Receive_IT(&huart1,UART1_DATA,RX1SIZE);
	HAL_UART_Receive_IT(&huart2,UART2_DATA,RX2SIZE);
	//Khoi dong LED 7 thanh
	tm1637Init();
	tm1637SetBrightness(4);
	//tm1637DisplayDecimal(6969,2);
		// Err
	TM1637_Disp_Dot(0,0x79,0x50,0x50);
		// Err
	TM1637_Disp_Dot(0,0x79,0x50,0x50);
		// --
	TM1637_Disp_Dot(0,0x40,0x40,0);

	//RS4851 TX
	RS485_TX1;
	printf("PAPI master!\r\n");
	bt_scan = 0;
		check = 0;
  /* USER CODE END 2 */

  /* Infinite loop */
  /* USER CODE BEGIN WHILE */
	ss1.offset_x = 0;
	ss1.offset_y = 0;

	//RS485_TX1;
	//printf("Reg 0x%x:%x\r\n",REG_VERSION,LoRa_readRegister(REG_VERSION));
	if(!rfm98w_begin(433)) {
				RS485_TX1;printf("LoRa init failed. Check your connections.\n\r!");
	}
	else {
        RS485_TX1;
        printf("LoRa init succeeded.\r\n!");
	}
  while (1)
  {
		/*
		if(bt_scan >2)
		{
		bt_scan = 0;

			RS485_TX1;
			printf("UART1:%s, check :%d,RxXferSize :%d,RxXferCount:%d\r\n",UART1_DATA,check,huart1.RxXferSize,huart1.RxXferCount);
			//HAL_UART_Receive_IT(&huart1,UART1_DATA,20);
			//huart1.pRxBuffPtr = UART1_DATA;
			//huart1.RxXferSize = 20;
			if(huart1.RxXferCount <=1) {HAL_UART_Receive_IT(&huart1,UART1_DATA,20);}
		}

		if(check > 10)
		{
			bt_scan = 0;

			RS485_TX1;

			printf("UART:%s, check :%d\r\n",UART1_DATA,check);
			//HAL_UART_Receive(&huart1,UART1_DATA,20,100);
			//HAL_UART_Receive_IT(&huart1,UART1_DATA,20);
			check = 0;
		}

		if(check == ONTIME)
		{
			check = 0;
			RS485_TX1;
			printf("UART1:%s, check :%d,RxXferSize :%d,RxXferCount:%d\r\n",UART1_DATA,check,huart1.RxXferSize,huart1.RxXferCount);
			HAL_UART_Receive_IT(&huart1,UART1_DATA,20);
			huart1.pRxBuffPtr = UART1_DATA;
			huart1.RxXferCount = 20;
			//_clear_mem(UART1_DATA,20);
		}*/
		_loop1_tx1off_();
		_loop2_rx1_process_();
		_loop3_rx2_process_();
		_loop4_check_sensor_();
		_loop5_button_();
		_loop6_lampcheck_();
		_loop7_communication_();
		_loop8_neigh_();
		_loop9_systemcheck_();
		_loop_master_send_();
		_slave_rep_();
		_slave_send_();
		_loop10_led7out_();

		//HAL_Delay(1000);
		//onReceive_(LoRa_parsePacket());
		/*
		if(check == ONTIME){
		check = STOP;
		//Xu ly no
		RS485_TX1;
		printf("UART1:%s, check :%d,RxXferSize :%d,RxXferCount:%d\r\n",UART1_DATA,check,huart1.RxXferSize,huart1.RxXferCount);
		huart1.RxXferCount = RX1SIZE;
		HAL_UART_Receive_IT(&huart1,UART1_DATA,RX1SIZE);
		huart1.pRxBuffPtr = UART1_DATA;
		_clear_mem(UART1_DATA,RX1SIZE-1);
	}*/
  /* USER CODE END WHILE */

  }

}

/** System Clock Configuration
*/
void SystemClock_Config(void)
{

  RCC_OscInitTypeDef RCC_OscInitStruct;
  RCC_ClkInitTypeDef RCC_ClkInitStruct;

    /**Initializes the CPU, AHB and APB busses clocks
    */
  RCC_OscInitStruct.OscillatorType = RCC_OSCILLATORTYPE_HSE;
  RCC_OscInitStruct.HSEState = RCC_HSE_ON;
  RCC_OscInitStruct.HSEPredivValue = RCC_HSE_PREDIV_DIV1;
  RCC_OscInitStruct.HSIState = RCC_HSI_ON;
  RCC_OscInitStruct.PLL.PLLState = RCC_PLL_ON;
  RCC_OscInitStruct.PLL.PLLSource = RCC_PLLSOURCE_HSE;
  RCC_OscInitStruct.PLL.PLLMUL = RCC_PLL_MUL9;
  if (HAL_RCC_OscConfig(&RCC_OscInitStruct) != HAL_OK)
  {
    _Error_Handler(__FILE__, __LINE__);
  }

    /**Initializes the CPU, AHB and APB busses clocks
    */
  RCC_ClkInitStruct.ClockType = RCC_CLOCKTYPE_HCLK|RCC_CLOCKTYPE_SYSCLK
                              |RCC_CLOCKTYPE_PCLK1|RCC_CLOCKTYPE_PCLK2;
  RCC_ClkInitStruct.SYSCLKSource = RCC_SYSCLKSOURCE_PLLCLK;
  RCC_ClkInitStruct.AHBCLKDivider = RCC_SYSCLK_DIV1;
  RCC_ClkInitStruct.APB1CLKDivider = RCC_HCLK_DIV2;
  RCC_ClkInitStruct.APB2CLKDivider = RCC_HCLK_DIV1;

  if (HAL_RCC_ClockConfig(&RCC_ClkInitStruct, FLASH_LATENCY_2) != HAL_OK)
  {
    _Error_Handler(__FILE__, __LINE__);
  }

    /**Configure the Systick interrupt time
    */
  HAL_SYSTICK_Config(HAL_RCC_GetHCLKFreq()/1000);

    /**Configure the Systick
    */
  HAL_SYSTICK_CLKSourceConfig(SYSTICK_CLKSOURCE_HCLK);

  /* SysTick_IRQn interrupt configuration */
  HAL_NVIC_SetPriority(SysTick_IRQn, 0, 0);
}

/** NVIC Configuration
*/
static void MX_NVIC_Init(void)
{
  /* USART2_IRQn interrupt configuration */
  HAL_NVIC_SetPriority(USART2_IRQn, 0, 0);
  HAL_NVIC_EnableIRQ(USART2_IRQn);
  /* USART1_IRQn interrupt configuration */
  HAL_NVIC_SetPriority(USART1_IRQn, 0, 0);
  HAL_NVIC_EnableIRQ(USART1_IRQn);
}

/* SPI1 init function */
static void MX_SPI1_Init(void)
{

  /* SPI1 parameter configuration*/
  hspi1.Instance = SPI1;
  hspi1.Init.Mode = SPI_MODE_MASTER;
  hspi1.Init.Direction = SPI_DIRECTION_2LINES;
  hspi1.Init.DataSize = SPI_DATASIZE_8BIT;
  hspi1.Init.CLKPolarity = SPI_POLARITY_LOW;
  hspi1.Init.CLKPhase = SPI_PHASE_1EDGE;
  hspi1.Init.NSS = SPI_NSS_SOFT;
  hspi1.Init.BaudRatePrescaler = SPI_BAUDRATEPRESCALER_32;
  hspi1.Init.FirstBit = SPI_FIRSTBIT_MSB;
  hspi1.Init.TIMode = SPI_TIMODE_DISABLE;
  hspi1.Init.CRCCalculation = SPI_CRCCALCULATION_DISABLE;
  hspi1.Init.CRCPolynomial = 10;
  if (HAL_SPI_Init(&hspi1) != HAL_OK)
  {
    _Error_Handler(__FILE__, __LINE__);
  }

}

/* TIM1 init function */
static void MX_TIM1_Init(void)
{

  TIM_ClockConfigTypeDef sClockSourceConfig;
  TIM_MasterConfigTypeDef sMasterConfig;

  htim1.Instance = TIM1;
  htim1.Init.Prescaler = 1124;
  htim1.Init.CounterMode = TIM_COUNTERMODE_UP;
  htim1.Init.Period = 63999;
  htim1.Init.ClockDivision = TIM_CLOCKDIVISION_DIV1;
  htim1.Init.RepetitionCounter = 0;
  htim1.Init.AutoReloadPreload = TIM_AUTORELOAD_PRELOAD_ENABLE;
  if (HAL_TIM_Base_Init(&htim1) != HAL_OK)
  {
    _Error_Handler(__FILE__, __LINE__);
  }

  sClockSourceConfig.ClockSource = TIM_CLOCKSOURCE_INTERNAL;
  if (HAL_TIM_ConfigClockSource(&htim1, &sClockSourceConfig) != HAL_OK)
  {
    _Error_Handler(__FILE__, __LINE__);
  }

  sMasterConfig.MasterOutputTrigger = TIM_TRGO_ENABLE;
  sMasterConfig.MasterSlaveMode = TIM_MASTERSLAVEMODE_DISABLE;
  if (HAL_TIMEx_MasterConfigSynchronization(&htim1, &sMasterConfig) != HAL_OK)
  {
    _Error_Handler(__FILE__, __LINE__);
  }

}

/* TIM3 init function */
static void MX_TIM3_Init(void)
{

  TIM_ClockConfigTypeDef sClockSourceConfig;
  TIM_MasterConfigTypeDef sMasterConfig;

  htim3.Instance = TIM3;
  htim3.Init.Prescaler = 35999;
  htim3.Init.CounterMode = TIM_COUNTERMODE_UP;
  htim3.Init.Period = 1;
  htim3.Init.ClockDivision = TIM_CLOCKDIVISION_DIV1;
  htim3.Init.AutoReloadPreload = TIM_AUTORELOAD_PRELOAD_DISABLE;
  if (HAL_TIM_Base_Init(&htim3) != HAL_OK)
  {
    _Error_Handler(__FILE__, __LINE__);
  }

  sClockSourceConfig.ClockSource = TIM_CLOCKSOURCE_INTERNAL;
  if (HAL_TIM_ConfigClockSource(&htim3, &sClockSourceConfig) != HAL_OK)
  {
    _Error_Handler(__FILE__, __LINE__);
  }

  sMasterConfig.MasterOutputTrigger = TIM_TRGO_RESET;
  sMasterConfig.MasterSlaveMode = TIM_MASTERSLAVEMODE_DISABLE;
  if (HAL_TIMEx_MasterConfigSynchronization(&htim3, &sMasterConfig) != HAL_OK)
  {
    _Error_Handler(__FILE__, __LINE__);
  }

}

/* USART1 init function */
static void MX_USART1_UART_Init(void)
{

  huart1.Instance = USART1;
  huart1.Init.BaudRate = 115200;
  huart1.Init.WordLength = UART_WORDLENGTH_8B;
  huart1.Init.StopBits = UART_STOPBITS_1;
  huart1.Init.Parity = UART_PARITY_NONE;
  huart1.Init.Mode = UART_MODE_TX_RX;
  huart1.Init.HwFlowCtl = UART_HWCONTROL_NONE;
  huart1.Init.OverSampling = UART_OVERSAMPLING_16;
  if (HAL_UART_Init(&huart1) != HAL_OK)
  {
    _Error_Handler(__FILE__, __LINE__);
  }

}

/* USART2 init function */
static void MX_USART2_UART_Init(void)
{

  huart2.Instance = USART2;
  huart2.Init.BaudRate = 115200;
  huart2.Init.WordLength = UART_WORDLENGTH_8B;
  huart2.Init.StopBits = UART_STOPBITS_1;
  huart2.Init.Parity = UART_PARITY_NONE;
  huart2.Init.Mode = UART_MODE_TX_RX;
  huart2.Init.HwFlowCtl = UART_HWCONTROL_NONE;
  huart2.Init.OverSampling = UART_OVERSAMPLING_16;
  if (HAL_UART_Init(&huart2) != HAL_OK)
  {
    _Error_Handler(__FILE__, __LINE__);
  }

}

/** Configure pins as
        * Analog
        * Input
        * Output
        * EVENT_OUT
        * EXTI
*/
static void MX_GPIO_Init(void)
{

  GPIO_InitTypeDef GPIO_InitStruct;

  /* GPIO Ports Clock Enable */
  __HAL_RCC_GPIOD_CLK_ENABLE();
  __HAL_RCC_GPIOC_CLK_ENABLE();
  __HAL_RCC_GPIOA_CLK_ENABLE();
  __HAL_RCC_GPIOB_CLK_ENABLE();

  /*Configure GPIO pin Output Level */
  HAL_GPIO_WritePin(GPIOA, RS485_2RD_Pin|CRL8_Pin|CRL7_Pin|CRL6_Pin
                          |RS485_1RD_Pin, GPIO_PIN_RESET);

  /*Configure GPIO pin Output Level */
  HAL_GPIO_WritePin(GPIOC, CRL5_Pin|CRL4_Pin, GPIO_PIN_RESET);

  /*Configure GPIO pin Output Level */
  HAL_GPIO_WritePin(GPIOB, CRL3_Pin|CRL2_Pin|CRL1_Pin|CLK_Pin
                          |DIO_Pin|RF_NSS_Pin|RF_RST_Pin, GPIO_PIN_RESET);

  /*Configure GPIO pins : BT1_Pin BT2_Pin */
  GPIO_InitStruct.Pin = BT1_Pin|BT2_Pin;
  GPIO_InitStruct.Mode = GPIO_MODE_INPUT;
  GPIO_InitStruct.Pull = GPIO_NOPULL;
  HAL_GPIO_Init(GPIOC, &GPIO_InitStruct);

  /*Configure GPIO pins : RS485_2RD_Pin CRL8_Pin CRL7_Pin CRL6_Pin
                           RS485_1RD_Pin */
  GPIO_InitStruct.Pin = RS485_2RD_Pin|CRL8_Pin|CRL7_Pin|CRL6_Pin
                          |RS485_1RD_Pin;
  GPIO_InitStruct.Mode = GPIO_MODE_OUTPUT_PP;
  GPIO_InitStruct.Speed = GPIO_SPEED_FREQ_LOW;
  HAL_GPIO_Init(GPIOA, &GPIO_InitStruct);

  /*Configure GPIO pins : CRL5_Pin CRL4_Pin */
  GPIO_InitStruct.Pin = CRL5_Pin|CRL4_Pin;
  GPIO_InitStruct.Mode = GPIO_MODE_OUTPUT_PP;
  GPIO_InitStruct.Speed = GPIO_SPEED_FREQ_LOW;
  HAL_GPIO_Init(GPIOC, &GPIO_InitStruct);

  /*Configure GPIO pins : CRL3_Pin CRL2_Pin CRL1_Pin RF_NSS_Pin
                           RF_RST_Pin */
  GPIO_InitStruct.Pin = CRL3_Pin|CRL2_Pin|CRL1_Pin|RF_NSS_Pin
                          |RF_RST_Pin;
  GPIO_InitStruct.Mode = GPIO_MODE_OUTPUT_PP;
  GPIO_InitStruct.Speed = GPIO_SPEED_FREQ_LOW;
  HAL_GPIO_Init(GPIOB, &GPIO_InitStruct);

  /*Configure GPIO pins : CLK_Pin DIO_Pin */
  GPIO_InitStruct.Pin = CLK_Pin|DIO_Pin;
  GPIO_InitStruct.Mode = GPIO_MODE_OUTPUT_OD;
  GPIO_InitStruct.Speed = GPIO_SPEED_FREQ_LOW;
  HAL_GPIO_Init(GPIOB, &GPIO_InitStruct);

  /*Configure GPIO pin : PB9 */
  GPIO_InitStruct.Pin = GPIO_PIN_9;
  GPIO_InitStruct.Mode = GPIO_MODE_IT_RISING;
  GPIO_InitStruct.Pull = GPIO_NOPULL;
  HAL_GPIO_Init(GPIOB, &GPIO_InitStruct);

}

/* USER CODE BEGIN 4 */

unsigned char HEXInStringToDec(unsigned char data)
      {
            if((data>47)&&(data<58)) return (data-48);// 0...9
            else if((data>63)&&(data<71)) return (data-55);//A..F
						else return 0;
      }

void HAL_TIM_PeriodElapsedCallback(TIM_HandleTypeDef *htim)
{
	if(htim->Instance == htim3.Instance )//1ms
	{
		//counting for loop1
		if(_loop1 > ONTIME) _loop1--;
		//counting for loop2
		if(_loop2 > ONTIME) _loop2--;
		//counting for loop3
		if(_loop3 > ONTIME) _loop3--;
		//counting for loop5
		if(_loop5 > ONTIME) _loop5--;
		//counting for _loop_same
		if(_loop_same > ONTIME) _loop_same--;
		//counting for _loop_master
		if(_loopm > ONTIME) _loopm--;
		//counting for _slave_time_to_rep
		if(_slave_time_to_rep > ONTIME) _slave_time_to_rep--;

		if(check > ONTIME) check--;
	}
	if(htim->Instance == htim1.Instance )//1s
	{
		bt_scan++;
		//counting for _loop4
		if(_loop4 > ONTIME) _loop4--;
		//counting for _loop10_
		if(_loop10_ > ONTIME) _loop10_--;

		//kiem tra xem ket noi OK ko
		if(_my_conn < CONN_LIMIT) _my_conn++;
		//f5_papi_info
		if(f5_papi_info[PAPI_MASTER]<F5TIMEOUT) f5_papi_info[PAPI_MASTER]++;
		if(f5_papi_info[PAPI_SLAVE1]<F5TIMEOUT) f5_papi_info[PAPI_SLAVE1]++;
		if(f5_papi_info[PAPI_SLAVE2]<F5TIMEOUT) f5_papi_info[PAPI_SLAVE2]++;
		if(f5_papi_info[PAPI_SLAVE3]<F5TIMEOUT) f5_papi_info[PAPI_SLAVE3]++;
	}
}
#ifdef __GNUC__
  /* With GCC/RAISONANCE, small printf (option LD Linker->Libraries->Small printf
     set to 'Yes') calls __io_putchar() */
  #define PUTCHAR_PROTOTYPE int __io_putchar(int ch)
#else
  #define PUTCHAR_PROTOTYPE int fputc(int ch, FILE *f)
#endif /* __GNUC__ */

/**
  * @brief  Retargets the C library printf function to the USART.
  * @param  None
  * @retval None
  */
PUTCHAR_PROTOTYPE
{
	/* Place your implementation of fputc here */
	/* e.g. write a character to the USART */
	HAL_UART_Transmit(&huart1, (uint8_t *)&ch, 1, 10);
	//start loop1
	_loop1 = _loop1_run;
	return ch;
}
/* USER CODE END 4 */

void _Error_Handler(char * file, int line)
{
  while(1)
  {
  }
}

/************************ (C) COPYRIGHT STMicroelectronics *****END OF FILE****/
